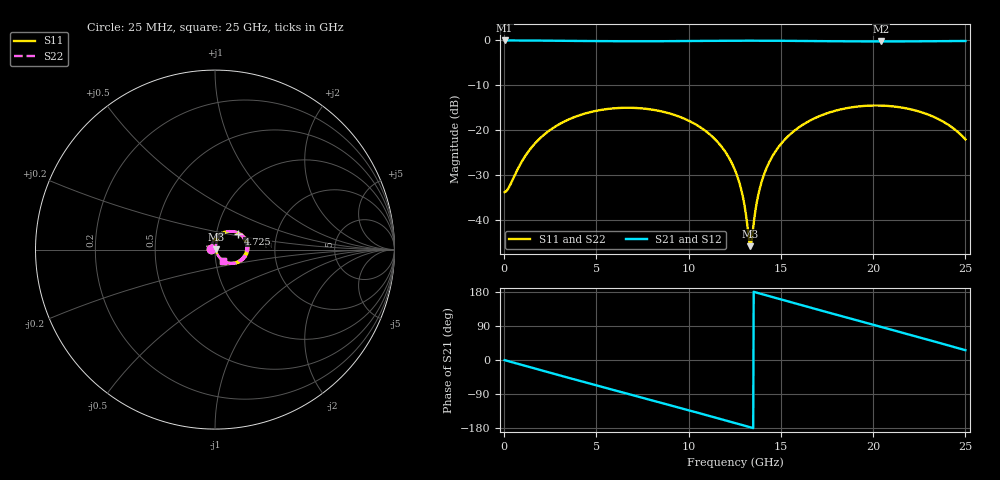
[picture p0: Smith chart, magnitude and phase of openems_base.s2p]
! thru_BV_vna_clk_w5_in: 2×thru F.Cu, 6 mm
! stackup: as the board case
! ports: 1 near, 2 far
! openEMS 0.37.0, staircase, base mesh (dfine 0.07 mm), 287712 cells
# Hz S RI R 50
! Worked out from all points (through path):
!   1000 points, 25 MHz to 25 GHz, reference 50 ohm
!   highest |S21| = -0.18 dB at 25 MHz (marker M1); lowest = -0.4 dB at 20.43 GHz (marker M2)
!   group delay of S21, straight-line fit = 37.1 ps
!   lowest |S11| = -45.8 dB at 13.35 GHz (marker M3), VSWR 1.01, Z = 50.5 + j0.0823 ohm
!   |S11| at or under -10 dB: start of sweep to end of sweep
!   |S22| runs from -45.8 to -14.6 dB; largest |S21 - S12| = 0
!   S11 on the Smith chart (normalised r, x): 25 MHz: 0.96, +0.00; 4.725 GHz: 1.28, +0.23; 25 GHz: 1.08, -0.14
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2.5e7  -0.0204 0.00116  0.9794 -0.00579  0.9794 -0.00579  -0.0204 0.00116
1.85e9  0.0129 0.0762  0.8846 -0.4128  0.8846 -0.4128  0.0129 0.0762
4.2e9  0.1104 0.0983  0.535 -0.8048  0.535 -0.8048  0.1104 0.0983
4.725e9  0.1308 0.089  0.4331 -0.8616  0.4331 -0.8616  0.1308 0.089
6.55e9  0.1734 0.0286  0.0462 -0.9586  0.0462 -0.9586  0.1734 0.0286
8.35e9  0.1581 -0.0401  -0.3411 -0.8979  -0.3411 -0.8979  0.1581 -0.0401
1.0975e10  0.0642 -0.0703  -0.7992 -0.5471  -0.7992 -0.5471  0.0642 -0.0703
1.1875e10  0.0327 -0.0521  -0.8986 -0.3683  -0.8986 -0.3683  0.0327 -0.0521
1.2525e10  0.016 -0.0314  -0.9456 -0.227  -0.9456 -0.227  0.016 -0.0314
1.29e10  0.00949 -0.0173  -0.9624 -0.1424  -0.9624 -0.1424  0.00949 -0.0173
1.325e10  0.00572 -0.0033  -0.9711 -0.0622  -0.9711 -0.0622  0.00572 -0.0033
1.335e10  0.00508 0.000814  -0.9723 -0.0392  -0.9723 -0.0392  0.00508 0.000814
1.345e10  0.00463 0.00496  -0.973 -0.0161  -0.973 -0.0161  0.00463 0.00496
1.385e10  0.0048 0.0216  -0.97 0.0761  -0.97 0.0761  0.0048 0.0216
1.44e10  0.0101 0.044  -0.9511 0.2015  -0.9511 0.2015  0.0101 0.044
1.535e10  0.0321 0.077  -0.88 0.4075  -0.88 0.4075  0.0321 0.077
1.6675e10  0.0815 0.101  -0.7088 0.6545  -0.7088 0.6545  0.0815 0.101
1.8575e10  0.1553 0.0788  -0.3573 0.8883  -0.3573 0.8883  0.1553 0.0788
2.0425e10  0.1856 0.0104  0.0433 0.9535  0.0433 0.9535  0.1856 0.0104
2.085e10  0.1838 -0.00714  0.1367 0.9448  0.1367 0.9448  0.1838 -0.00714
2.32e10  0.1196 -0.076  0.6124 0.7396  0.6124 0.7396  0.1196 -0.076
2.5e10  0.0449 -0.0644  0.8695 0.4216  0.8695 0.4216  0.0449 -0.0644
